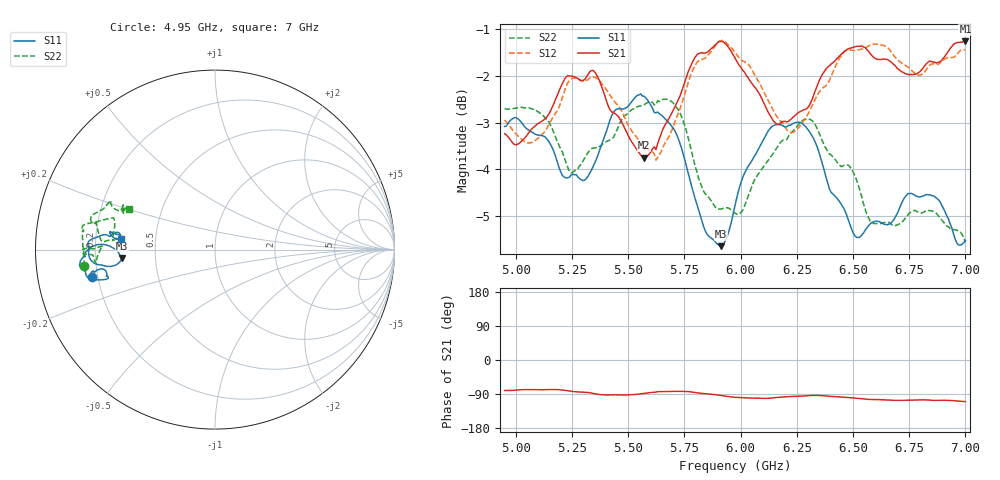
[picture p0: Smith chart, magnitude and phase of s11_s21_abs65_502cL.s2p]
! MS46122B
! 1919307/90821646
! 5/16/2022 1:36:33 PM
! C:\USERS\PC_\DESKTOP\CARACTERIZACION\MEDICIONES\BANDA ANCHA\S11_S21_ABS65_502C.S2P
! CHANNEL.1
! TR.MEASUREMENT
! CORRECTED.DATA
# GHZ S RI R 50.0
! FREQ.GHZ  S11RE  S11IM  S21RE  S21IM  S12RE  S12IM  S22RE  S22IM
!; PortSelection: Port_12
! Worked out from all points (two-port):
!   272 points, 4.95 GHz to 7 GHz, reference 50 ohm
!   highest |S21| = -1.25 dB at 7 GHz (marker M1); lowest = -3.8 dB at 5.57 GHz (marker M2)
!   |S21| within 3 dB of the highest: start of sweep to end of sweep
!   lowest |S11| = -5.6 dB at 5.911 GHz (marker M3), VSWR 3.18, Z = 15.7 - j2.01 ohm
!   |S11| at or under -10 dB: nowhere
!   |S22| runs from -5.6 to -2.5 dB; largest |S21 - S12| = 0.041
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4.95  -0.6846 -0.1531  0.1146 -0.6794  0.1206 -0.7023  -0.7271 -0.0922
5.040775  -0.6886 -0.127  0.1395 -0.6674  0.1166 -0.665  -0.7345 0.00133
5.184502  -0.6336 -0.1073  0.156 -0.741  0.1388 -0.7159  -0.6753 0.00518
5.29797  -0.5938 -0.1547  0.0699 -0.7826  0.0942 -0.7786  -0.6433 -0.00975
5.358487  -0.6249 -0.1676  0.000989 -0.7972  0.0375 -0.7896  -0.6614 -0.0774
5.471956  -0.7214 -0.1255  -0.0308 -0.7077  -0.0503 -0.726  -0.7134 -0.0254
5.570295  -0.7522 -0.0725  0.0216 -0.649  0.00936 -0.6678  -0.7375 0.0623
5.638376  -0.7232 -0.0241  0.0767 -0.6762  0.0548 -0.652  -0.7369 0.1134
5.75941  -0.6344 0.0291  0.0952 -0.7871  0.0873 -0.7668  -0.6756 0.1531
5.84262  -0.5419 -0.00982  0.0134 -0.8404  0.0407 -0.829  -0.5669 0.1774
5.910701  -0.5198 -0.0464  -0.0541 -0.8635  -0.0194 -0.8663  -0.564 0.0939
5.978782  -0.575 -0.0928  -0.1232 -0.8179  -0.1124 -0.8324  -0.563 0.0537
6.099815  -0.6733 -0.0748  -0.1468 -0.7315  -0.1617 -0.75  -0.6323 0.0481
6.160332  -0.7042 -0.0232  -0.11 -0.6968  -0.127 -0.7077  -0.6547 0.1163
6.235978  -0.7065 0.0201  -0.0738 -0.7146  -0.0878 -0.6862  -0.6785 0.1496
6.319188  -0.6818 0.0601  -0.0448 -0.7496  -0.059 -0.7368  -0.6851 0.1907
6.417528  -0.5867 0.0737  -0.0941 -0.8183  -0.0546 -0.8068  -0.5931 0.2611
6.500738  -0.5314 0.0909  -0.1506 -0.8393  -0.1324 -0.8356  -0.5762 0.2463
6.576384  -0.5483 0.0597  -0.2042 -0.8146  -0.1876 -0.8365  -0.5115 0.2156
6.659594  -0.5478 0.0592  -0.2255 -0.794  -0.2348 -0.8164  -0.5116 0.2108
6.788192  -0.5823 0.095  -0.2126 -0.7712  -0.2339 -0.7611  -0.5131 0.2433
7  -0.5258 0.0589  -0.2932 -0.8147  -0.2758 -0.8007  -0.4775 0.2237
